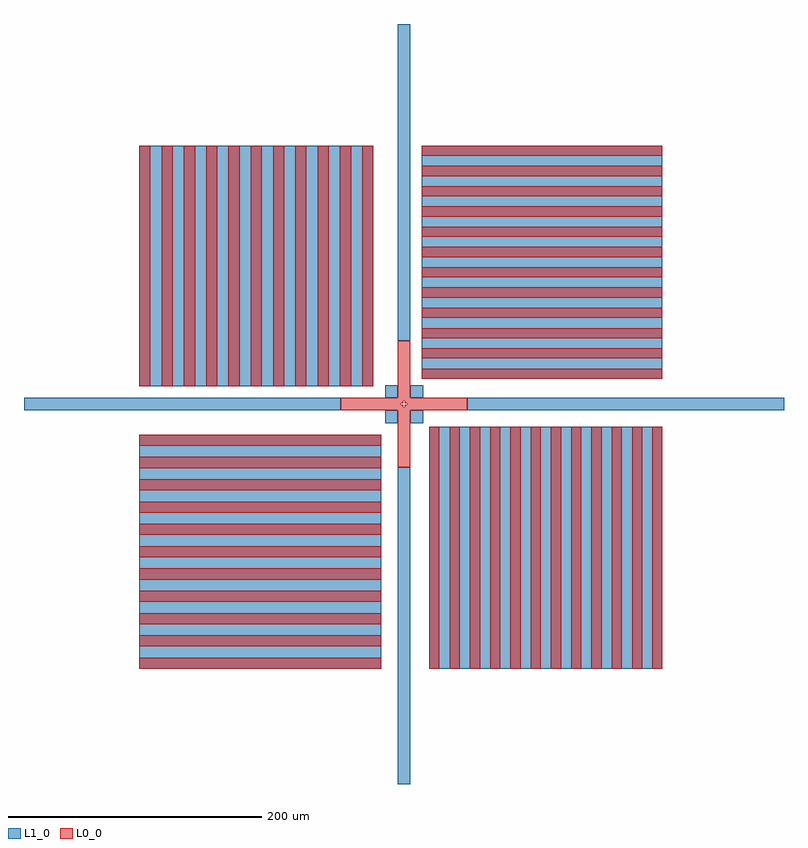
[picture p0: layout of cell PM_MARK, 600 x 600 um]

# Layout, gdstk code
import gdstk
lib = gdstk.Library(unit=1e-6, precision=1e-09)
def R(c, l, rs):  # rectangles x0, y0, x1, y1
    for r in rs: c.add(gdstk.rectangle(r[:2], r[2:], *l))
def A(c, l, x, y, w, h, nx, ny, dx, dy):  # array of equal rectangles
    R(c, l, [(x+i*dx, y+j*dy, x+i*dx+w, y+j*dy+h) for i in range(nx) for j in range(ny)])
def P(c, l, *ps):  # polygons
    for p in ps: c.add(gdstk.Polygon(p, *l))
L0_0 = (0, 0)
L1_0 = (1, 0)

pm_mark = lib.new_cell('PM_MARK')
A(pm_mark, L0_0, -209, -209, 191, 8.8, 1, 11, 0, 17.6)
A(pm_mark, L0_0, 20, -209, 8, 191, 12, 1, 16, 0)
A(pm_mark, L0_0, -209, 14, 8.8, 190, 11, 1, 17.6, 0)
A(pm_mark, L0_0, 14, 20, 190, 8, 1, 12, 0, 16)
R(pm_mark, L0_0, [(-50,-5,-5,5), (5,-5,50,5)])
P(pm_mark, L0_0, [(-5,-50),(-5,0.5),(-2.5,0.5),(-2.5,-0.5),(-0.5,-0.5),(-0.5,-2.5),(0.5,-2.5),(0.5,-0.5),(2.5,-0.5),(2.5,0.5),(0.5,0.5),(0.5,2.5),(-0.5,2.5),(-0.5,0.5),(-5,0.5),(-5,50),(5,50),(5,-50)])
R(pm_mark, L1_0, [(-5,-300,5,-50), (-209,-209,-18,-24.2), (20,-209,204,-18), (-15,-15,-5,-5), (5,-15,15,-5), (-300,-5,-50,5), (50,-5,300,5), (-15,5,-5,15), (5,5,15,15), (-209,14,-24.2,204), (14,20,204,204), (-5,50,5,300)])

lib.write_gds('PM_MARK.gds')
